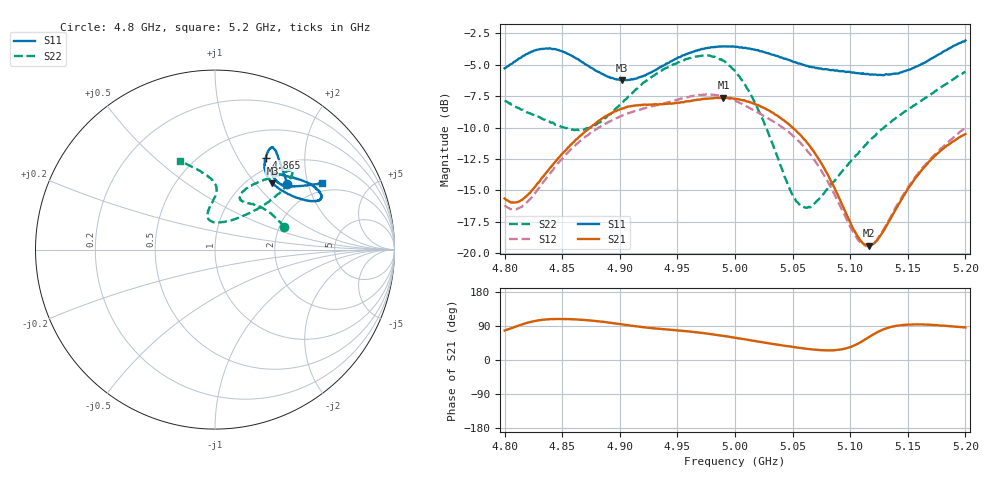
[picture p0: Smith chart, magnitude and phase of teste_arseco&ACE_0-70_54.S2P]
! Network Analyzer HP8722D
! Hewlett-Packard
! Data name: Linha & Wilkinson
! Saver's name: Rodrigo Anjos
! Comments: Teste da utilização de aquisição
! continua pelo VNA HP8722D
! Time and date: 8/5/2025 13:12
!  Frequency  S11  S21  S12  S22
# HZ  S  MA R 50
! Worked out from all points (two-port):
!   401 points, 4.8 GHz to 5.2 GHz, reference 50 ohm
!   highest |S21| = -7.61 dB at 4.99 GHz (marker M1); lowest = -19.4 dB at 5.116 GHz (marker M2)
!   |S21| within 3 dB of the highest: 4.866 GHz to 5.057 GHz (190.9 MHz wide, 3.85 % of centre); 5.197855 GHz to end of sweep
!   lowest |S11| = -6.2 dB at 4.902 GHz (marker M3), VSWR 2.91, Z = 63.6 + j61.7 ohm
!   |S11| at or under -10 dB: nowhere
!   |S22| runs from -16.4 to -4.2 dB; largest |S21 - S12| = 0.16
!   S11 on the Smith chart (normalised r, x): 4.8 GHz: 1.44, +1.49; 4.865 GHz: 0.84, +1.32; 5.2 GHz: 1.68, +2.47
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4.8e9  0.5445 42.1  0.1652 77.8  0.1554 42.9  0.4039 18.2
4.813e9  0.5974 52.1  0.1612 91.8  0.1518 57.0  0.3768 30.1
4.831e9  0.6499 59.1  0.1954 105.4  0.1853 71.2  0.3469 43.1
4.845e9  0.6473 61.3  0.2346 108.3  0.2239 75.1  0.3244 51.9
4.865e9  0.5856 61.1  0.2914 106.5  0.2786 75.8  0.31 61.5
4.867e9  0.5771 60.9  0.2966 105.9  0.283 75.6  0.3106 62.0
4.885e9  0.5171 56.8  0.3447 101.1  0.3223 74.1  0.3369 64.8
4.902e9  0.4886 49.1  0.3771 94.1  0.3533 72.4  0.3967 61.5
4.934e9  0.5465 31.5  0.3915 82.2  0.3918 68.5  0.5266 50.5
4.963e9  0.632 25.5  0.4047 74.4  0.4215 62.3  0.6023 47.1
4.99e9  0.6658 27.5  0.4162 63.6  0.4207 51.3  0.5838 43.3
5e9  0.6637 29.7  0.4119 58.6  0.4055 47.3  0.5302 42.0
5.02e9  0.644 34.9  0.3886 48.6  0.3631 41.3  0.3738 42.2
5.051e9  0.5779 44.7  0.3129 34.3  0.2913 34.2  0.1676 69.1
5.059e9  0.5623 47.3  0.288 30.9  0.2679 32.2  0.1535 83.1
5.067e9  0.5501 49.8  0.2593 27.9  0.2421 31.0  0.1543 94.9
5.084e9  0.5358 52.8  0.1905 25.3  0.1799 32.2  0.1894 102.8
5.105e9  0.5215 51.8  0.1195 40.4  0.1167 50.9  0.2457 96.1
5.116e9  0.5161 49.7  0.1072 59.8  0.1068 71.5  0.2779 91.8
5.134e9  0.5145 45.5  0.1348 86.1  0.1368 98.8  0.3298 88.4
5.166e9  0.5786 37.7  0.2242 93.5  0.2273 110.2  0.4168 96.3
5.2e9  0.7031 31.9  0.2981 85.8  0.3169 110.7  0.5282 111.4
